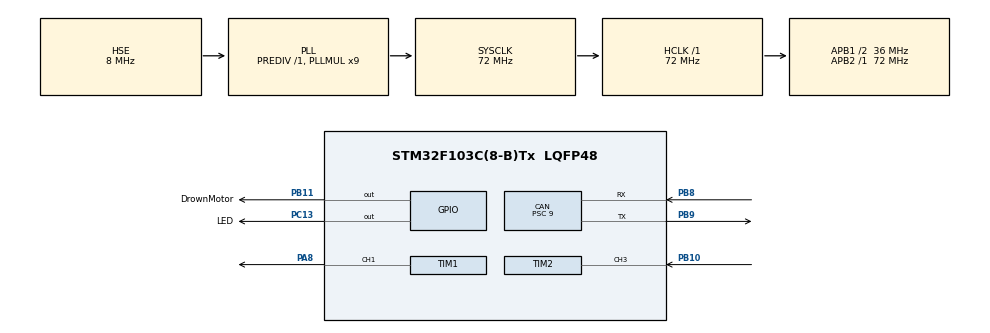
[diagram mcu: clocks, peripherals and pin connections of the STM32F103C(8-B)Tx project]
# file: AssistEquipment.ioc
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CAN.AWUM=ENABLE
CAN.BS1=CAN_BS1_13TQ
CAN.BS2=CAN_BS2_2TQ
CAN.CalculateTimeBit=4000
CAN.CalculateTimeQuantum=250.0
CAN.Mode=CAN_MODE_NORMAL
CAN.NART=ENABLE
CAN.Prescaler=9
CAN.SJW=CAN_SJW_2TQ
CAN.TXFP=DISABLE
FREERTOS.Tasks01=defaultTask,0,256,StartDefaultTask,As weak,NULL,Dynamic,NULL,NULL;CAN_TX_Task,0,512,Start_CAN_TX_Task,As weak,NULL,Dynamic,NULL,NULL;RPMTask,1,128,StartRPMTask,As weak,NULL,Dynamic,NULL,NULL
FREERTOS.configTOTAL_HEAP_SIZE=4048
IWDG.Prescaler=IWDG_PRESCALER_32
Mcu.Family=STM32F1
Mcu.Name=STM32F103C(8-B)Tx
Mcu.Package=LQFP48
NVIC.PriorityGroup=NVIC_PRIORITYGROUP_4
NVIC.TIM2_IRQn=true\:5\:0\:false\:false\:true\:true\:true\:true
NVIC.TIM3_IRQn=true\:5\:0\:false\:false\:true\:true\:true\:true
NVIC.TIM4_IRQn=true\:0\:0\:false\:false\:true\:false\:false\:true
NVIC.TimeBase=TIM4_IRQn
NVIC.TimeBaseIP=TIM4
NVIC.USB_LP_CAN1_RX0_IRQn=true\:5\:0\:false\:false\:true\:true\:true\:true
PA13.Mode=Serial_Wire
PA13.Signal=SYS_JTMS-SWDIO
PA14.Mode=Serial_Wire
PA14.Signal=SYS_JTCK-SWCLK
PA8.Signal=S_TIM1_CH1
PB10.Signal=S_TIM2_CH3
PB11.GPIO_Label=DrownMotor
PB11.Signal=GPIO_Output
PB8.Mode=Master
PB8.Signal=CAN_RX
PB9.Mode=Master
PB9.Signal=CAN_TX
PC13-TAMPER-RTC.GPIO_Label=LED
PC13-TAMPER-RTC.Signal=GPIO_Output
PC14-OSC32_IN.Mode=LSE-External-Oscillator
PC14-OSC32_IN.Signal=RCC_OSC32_IN
PC15-OSC32_OUT.Mode=LSE-External-Oscillator
PC15-OSC32_OUT.Signal=RCC_OSC32_OUT
PD0-OSC_IN.Mode=HSE-External-Oscillator
PD0-OSC_IN.Signal=RCC_OSC_IN
PD1-OSC_OUT.Mode=HSE-External-Oscillator
PD1-OSC_OUT.Signal=RCC_OSC_OUT
ProjectManager.HeapSize=0x200
ProjectManager.StackSize=0x400
ProjectManager.TargetToolchain=EWARM V8.32
RCC.AHBFreq_Value=72000000
RCC.APB1CLKDivider=RCC_HCLK_DIV2
RCC.APB1Freq_Value=36000000
RCC.APB1TimFreq_Value=72000000
RCC.APB2Freq_Value=72000000
RCC.APB2TimFreq_Value=72000000
RCC.HCLKFreq_Value=72000000
RCC.PLLMUL=RCC_PLL_MUL9
RCC.PLLSourceVirtual=RCC_PLLSOURCE_HSE
RCC.SYSCLKFreq_VALUE=72000000
RCC.SYSCLKSource=RCC_SYSCLKSOURCE_PLLCLK
RCC.USBFreq_Value=72000000
SH.S_TIM1_CH1.0=TIM1_CH1,PWM Generation1 CH1
SH.S_TIM2_CH3.0=TIM2_CH3,Input_Capture3_from_TI3
TIM1.Channel-PWM\ Generation1\ CH1=TIM_CHANNEL_1
TIM1.Period=5000
TIM1.Prescaler=71
TIM2.Channel-Input_Capture3_from_TI3=TIM_CHANNEL_3
TIM2.ICPrescaler-Input_Capture3_from_TI3=TIM_ICPSC_DIV1
TIM2.Period=65535
TIM2.Prescaler=71
TIM3.AutoReloadPreload=TIM_AUTORELOAD_PRELOAD_ENABLE
TIM3.Period=50000
TIM3.Prescaler=7199
VP_FREERTOS_VS_CMSIS_V1.Mode=CMSIS_V1
VP_IWDG_VS_IWDG.Mode=IWDG_Activate
VP_SYS_VS_tim4.Mode=TIM4
VP_TIM1_VS_ClockSourceINT.Mode=Internal
VP_TIM2_VS_ClockSourceINT.Mode=Internal
VP_TIM3_VS_ClockSourceINT.Mode=Internal
board=custom

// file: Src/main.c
/* USER CODE BEGIN Header */
/**
  ******************************************************************************
  * @file           : main.c
  * @brief          : Main program body
  ******************************************************************************
  * @attention
  *
  * <h2><center>&copy; Copyright (c) 2020 STMicroelectronics.
  * All rights reserved.</center></h2>
  *
  * This software component is licensed by ST under BSD 3-Clause license,
  * the "License"; You may not use this file except in compliance with the
  * License. You may obtain a copy of the License at:
  *                        opensource.org/licenses/BSD-3-Clause
  *
  ******************************************************************************
  */
/* USER CODE END Header */

#include "main.h"
#include "cmsis_os.h"

CAN_HandleTypeDef hcan;

IWDG_HandleTypeDef hiwdg;

TIM_HandleTypeDef htim1;
TIM_HandleTypeDef htim2;
TIM_HandleTypeDef htim3;

osThreadId defaultTaskHandle;
osThreadId CAN_TX_TaskHandle;
osThreadId RPMTaskHandle;
/* USER CODE BEGIN PV */
uint8_t SignalStatus = 0;
/* USER CODE END PV */

void SystemClock_Config(void);
static void MX_GPIO_Init(void);
static void MX_CAN_Init(void);
static void MX_TIM2_Init(void);
static void MX_TIM3_Init(void);
static void MX_TIM1_Init(void);
static void MX_IWDG_Init(void);
void StartDefaultTask(void const * argument);
void Start_CAN_TX_Task(void const * argument);
void StartRPMTask(void const * argument);

int main(void)
{

  /* MCU Configuration--------------------------------------------------------*/

  /* Reset of all peripherals, Initializes the Flash interface and the Systick. */
  HAL_Init();

  /* Configure the system clock */
  SystemClock_Config();

  /* Initialize all configured peripherals */
  MX_GPIO_Init();
  MX_CAN_Init();
  MX_TIM2_Init();
  MX_TIM3_Init();
  MX_TIM1_Init();
  MX_IWDG_Init();
  /* USER CODE BEGIN 2 */
  HAL_TIM_IC_Start_IT(&htim2, TIM_CHANNEL_3);
  //HAL_TIM_IC_Start_IT(&htim2, TIM_CHANNEL_4);
  /* USER CODE END 2 */

  /* Create the thread(s) */
  /* definition and creation of defaultTask */
  osThreadDef(defaultTask, StartDefaultTask, osPriorityNormal, 0, 256);
  defaultTaskHandle = osThreadCreate(osThread(defaultTask), NULL);

  /* definition and creation of CAN_TX_Task */
  osThreadDef(CAN_TX_Task, Start_CAN_TX_Task, osPriorityNormal, 0, 512);
  CAN_TX_TaskHandle = osThreadCreate(osThread(CAN_TX_Task), NULL);

  /* definition and creation of RPMTask */
  osThreadDef(RPMTask, StartRPMTask, osPriorityAboveNormal, 0, 128);
  RPMTaskHandle = osThreadCreate(osThread(RPMTask), NULL);

  /* Start scheduler */
  osKernelStart();

  /* We should never get here as control is now taken by the scheduler */
  /* Infinite loop */
  while (1)
  {

  }
}

void SystemClock_Config(void)
{
  RCC_OscInitTypeDef RCC_OscInitStruct = {0};
  RCC_ClkInitTypeDef RCC_ClkInitStruct = {0};

  /** Initializes the CPU, AHB and APB busses clocks
  */
  RCC_OscInitStruct.OscillatorType = RCC_OSCILLATORTYPE_LSI|RCC_OSCILLATORTYPE_HSE;
  RCC_OscInitStruct.HSEState = RCC_HSE_ON;
  RCC_OscInitStruct.HSEPredivValue = RCC_HSE_PREDIV_DIV1;
  RCC_OscInitStruct.HSIState = RCC_HSI_ON;
  RCC_OscInitStruct.LSIState = RCC_LSI_ON;
  RCC_OscInitStruct.PLL.PLLState = RCC_PLL_ON;
  RCC_OscInitStruct.PLL.PLLSource = RCC_PLLSOURCE_HSE;
  RCC_OscInitStruct.PLL.PLLMUL = RCC_PLL_MUL9;
  if (HAL_RCC_OscConfig(&RCC_OscInitStruct) != HAL_OK)
  {
    Error_Handler();
  }
  /** Initializes the CPU, AHB and APB busses clocks
  */
  RCC_ClkInitStruct.ClockType = RCC_CLOCKTYPE_HCLK|RCC_CLOCKTYPE_SYSCLK
                              |RCC_CLOCKTYPE_PCLK1|RCC_CLOCKTYPE_PCLK2;
  RCC_ClkInitStruct.SYSCLKSource = RCC_SYSCLKSOURCE_PLLCLK;
  RCC_ClkInitStruct.AHBCLKDivider = RCC_SYSCLK_DIV1;
  RCC_ClkInitStruct.APB1CLKDivider = RCC_HCLK_DIV2;
  RCC_ClkInitStruct.APB2CLKDivider = RCC_HCLK_DIV1;

  if (HAL_RCC_ClockConfig(&RCC_ClkInitStruct, FLASH_LATENCY_2) != HAL_OK)
  {
    Error_Handler();
  }
}

static void MX_CAN_Init(void)
{

  hcan.Instance = CAN1;
  hcan.Init.Prescaler = 9;
  hcan.Init.Mode = CAN_MODE_NORMAL;
  hcan.Init.SyncJumpWidth = CAN_SJW_2TQ;
  hcan.Init.TimeSeg1 = CAN_BS1_13TQ;
  hcan.Init.TimeSeg2 = CAN_BS2_2TQ;
  hcan.Init.TimeTriggeredMode = DISABLE;
  hcan.Init.AutoBusOff = DISABLE;
  hcan.Init.AutoWakeUp = ENABLE;
  hcan.Init.AutoRetransmission = ENABLE;
  hcan.Init.ReceiveFifoLocked = DISABLE;
  hcan.Init.TransmitFifoPriority = DISABLE;
  if (HAL_CAN_Init(&hcan) != HAL_OK)
  {
    Error_Handler();
  }
  /* USER CODE BEGIN CAN_Init 2 */
  CAN_FilterTypeDef CAN_Filter;
  CAN_Filter.FilterBank = 0;
  CAN_Filter.FilterMode = CAN_FILTERMODE_IDMASK;
  CAN_Filter.FilterScale = CAN_FILTERSCALE_32BIT;
  CAN_Filter.FilterMaskIdHigh = 0x0000;
  CAN_Filter.FilterMaskIdLow = 0x0000;
  CAN_Filter.FilterFIFOAssignment = CAN_RX_FIFO0;
  CAN_Filter.FilterActivation = ENABLE;

  if (HAL_CAN_ConfigFilter(&hcan, &CAN_Filter) != HAL_OK)
  {
    Error_Handler();
  }

  if (HAL_CAN_ActivateNotification(&hcan, CAN_IT_RX_FIFO0_MSG_PENDING) != HAL_OK)
  {
    Error_Handler();
  }

  if (HAL_CAN_Start(&hcan) != HAL_OK)
  {
    Error_Handler();
  }

  /* USER CODE END CAN_Init 2 */

}

static void MX_IWDG_Init(void)
{

  hiwdg.Instance = IWDG;
  hiwdg.Init.Prescaler = IWDG_PRESCALER_32;
  hiwdg.Init.Reload = 4095;
  if (HAL_IWDG_Init(&hiwdg) != HAL_OK)
  {
    Error_Handler();
  }

}

static void MX_TIM1_Init(void)
{

  TIM_ClockConfigTypeDef sClockSourceConfig = {0};
  TIM_MasterConfigTypeDef sMasterConfig = {0};
  TIM_OC_InitTypeDef sConfigOC = {0};
  TIM_BreakDeadTimeConfigTypeDef sBreakDeadTimeConfig = {0};

  htim1.Instance = TIM1;
  htim1.Init.Prescaler = 71;
  htim1.Init.CounterMode = TIM_COUNTERMODE_UP;
  htim1.Init.Period = 5000;
  htim1.Init.ClockDivision = TIM_CLOCKDIVISION_DIV1;
  htim1.Init.RepetitionCounter = 0;
  htim1.Init.AutoReloadPreload = TIM_AUTORELOAD_PRELOAD_DISABLE;
  if (HAL_TIM_Base_Init(&htim1) != HAL_OK)
  {
    Error_Handler();
  }
  sClockSourceConfig.ClockSource = TIM_CLOCKSOURCE_INTERNAL;
  if (HAL_TIM_ConfigClockSource(&htim1, &sClockSourceConfig) != HAL_OK)
  {
    Error_Handler();
  }
  if (HAL_TIM_PWM_Init(&htim1) != HAL_OK)
  {
    Error_Handler();
  }
  sMasterConfig.MasterOutputTrigger = TIM_TRGO_RESET;
  sMasterConfig.MasterSlaveMode = TIM_MASTERSLAVEMODE_DISABLE;
  if (HAL_TIMEx_MasterConfigSynchronization(&htim1, &sMasterConfig) != HAL_OK)
  {
    Error_Handler();
  }
  sConfigOC.OCMode = TIM_OCMODE_PWM1;
  sConfigOC.Pulse = 0;
  sConfigOC.OCPolarity = TIM_OCPOLARITY_HIGH;
  sConfigOC.OCNPolarity = TIM_OCNPOLARITY_HIGH;
  sConfigOC.OCFastMode = TIM_OCFAST_DISABLE;
  sConfigOC.OCIdleState = TIM_OCIDLESTATE_RESET;
  sConfigOC.OCNIdleState = TIM_OCNIDLESTATE_RESET;
  if (HAL_TIM_PWM_ConfigChannel(&htim1, &sConfigOC, TIM_CHANNEL_1) != HAL_OK)
  {
    Error_Handler();
  }
  sBreakDeadTimeConfig.OffStateRunMode = TIM_OSSR_DISABLE;
  sBreakDeadTimeConfig.OffStateIDLEMode = TIM_OSSI_DISABLE;
  sBreakDeadTimeConfig.LockLevel = TIM_LOCKLEVEL_OFF;
  sBreakDeadTimeConfig.DeadTime = 0;
  sBreakDeadTimeConfig.BreakState = TIM_BREAK_DISABLE;
  sBreakDeadTimeConfig.BreakPolarity = TIM_BREAKPOLARITY_HIGH;
  sBreakDeadTimeConfig.AutomaticOutput = TIM_AUTOMATICOUTPUT_DISABLE;
  if (HAL_TIMEx_ConfigBreakDeadTime(&htim1, &sBreakDeadTimeConfig) != HAL_OK)
  {
    Error_Handler();
  }
  HAL_TIM_MspPostInit(&htim1);

}

static void MX_TIM2_Init(void)
{

  TIM_ClockConfigTypeDef sClockSourceConfig = {0};
  TIM_MasterConfigTypeDef sMasterConfig = {0};
  TIM_IC_InitTypeDef sConfigIC = {0};

  htim2.Instance = TIM2;
  htim2.Init.Prescaler = 71;
  htim2.Init.CounterMode = TIM_COUNTERMODE_UP;
  htim2.Init.Period = 65535;
  htim2.Init.ClockDivision = TIM_CLOCKDIVISION_DIV1;
  htim2.Init.AutoReloadPreload = TIM_AUTORELOAD_PRELOAD_DISABLE;
  if (HAL_TIM_Base_Init(&htim2) != HAL_OK)
  {
    Error_Handler();
  }
  sClockSourceConfig.ClockSource = TIM_CLOCKSOURCE_INTERNAL;
  if (HAL_TIM_ConfigClockSource(&htim2, &sClockSourceConfig) != HAL_OK)
  {
    Error_Handler();
  }
  if (HAL_TIM_IC_Init(&htim2) != HAL_OK)
  {
    Error_Handler();
  }
  sMasterConfig.MasterOutputTrigger = TIM_TRGO_RESET;
  sMasterConfig.MasterSlaveMode = TIM_MASTERSLAVEMODE_DISABLE;
  if (HAL_TIMEx_MasterConfigSynchronization(&htim2, &sMasterConfig) != HAL_OK)
  {
    Error_Handler();
  }
  sConfigIC.ICPolarity = TIM_INPUTCHANNELPOLARITY_RISING;
  sConfigIC.ICSelection = TIM_ICSELECTION_DIRECTTI;
  sConfigIC.ICPrescaler = TIM_ICPSC_DIV1;
  sConfigIC.ICFilter = 0;
  if (HAL_TIM_IC_ConfigChannel(&htim2, &sConfigIC, TIM_CHANNEL_3) != HAL_OK)
  {
    Error_Handler();
  }

}

static void MX_TIM3_Init(void)
{

  TIM_ClockConfigTypeDef sClockSourceConfig = {0};
  TIM_MasterConfigTypeDef sMasterConfig = {0};

  htim3.Instance = TIM3;
  htim3.Init.Prescaler = 7199;
  htim3.Init.CounterMode = TIM_COUNTERMODE_UP;
  htim3.Init.Period = 50000;
  htim3.Init.ClockDivision = TIM_CLOCKDIVISION_DIV1;
  htim3.Init.AutoReloadPreload = TIM_AUTORELOAD_PRELOAD_ENABLE;
  if (HAL_TIM_Base_Init(&htim3) != HAL_OK)
  {
    Error_Handler();
  }
  sClockSourceConfig.ClockSource = TIM_CLOCKSOURCE_INTERNAL;
  if (HAL_TIM_ConfigClockSource(&htim3, &sClockSourceConfig) != HAL_OK)
  {
    Error_Handler();
  }
  sMasterConfig.MasterOutputTrigger = TIM_TRGO_RESET;
  sMasterConfig.MasterSlaveMode = TIM_MASTERSLAVEMODE_DISABLE;
  if (HAL_TIMEx_MasterConfigSynchronization(&htim3, &sMasterConfig) != HAL_OK)
  {
    Error_Handler();
  }
  /* USER CODE BEGIN TIM3_Init 2 */
  if (HAL_TIM_Base_Start_IT(&htim3) != HAL_OK)
  {
    Error_Handler();
  }
  /* USER CODE END TIM3_Init 2 */

}

static void MX_GPIO_Init(void)
{
  GPIO_InitTypeDef GPIO_InitStruct = {0};

  /* GPIO Ports Clock Enable */
  __HAL_RCC_GPIOC_CLK_ENABLE();
  __HAL_RCC_GPIOD_CLK_ENABLE();
  __HAL_RCC_GPIOB_CLK_ENABLE();
  __HAL_RCC_GPIOA_CLK_ENABLE();

  /*Configure GPIO pin Output Level */
  HAL_GPIO_WritePin(LED_GPIO_Port, LED_Pin, GPIO_PIN_RESET);

  /*Configure GPIO pin Output Level */
  HAL_GPIO_WritePin(DrownMotor_GPIO_Port, DrownMotor_Pin, GPIO_PIN_RESET);

  /*Configure GPIO pin : LED_Pin */
  GPIO_InitStruct.Pin = LED_Pin;
  GPIO_InitStruct.Mode = GPIO_MODE_OUTPUT_PP;
  GPIO_InitStruct.Pull = GPIO_NOPULL;
  GPIO_InitStruct.Speed = GPIO_SPEED_FREQ_LOW;
  HAL_GPIO_Init(LED_GPIO_Port, &GPIO_InitStruct);

  /*Configure GPIO pin : DrownMotor_Pin */
  GPIO_InitStruct.Pin = DrownMotor_Pin;
  GPIO_InitStruct.Mode = GPIO_MODE_OUTPUT_PP;
  GPIO_InitStruct.Pull = GPIO_NOPULL;
  GPIO_InitStruct.Speed = GPIO_SPEED_FREQ_LOW;
  HAL_GPIO_Init(DrownMotor_GPIO_Port, &GPIO_InitStruct);

}

__weak void StartDefaultTask(void const * argument)
{
  for (;;)
  {
    osDelay(1);
  }
}

__weak void Start_CAN_TX_Task(void const * argument)
{
  for (;;)
  {
    osDelay(1);
  }
}

__weak void StartRPMTask(void const * argument)
{
  for(;;)
  {
    osDelay(1);
  }
}

 /**
  * @brief  Period elapsed callback in non blocking mode
  * @note   This function is called  when TIM4 interrupt took place, inside
  * HAL_TIM_IRQHandler(). It makes a direct call to HAL_IncTick() to increment
  * a global variable "uwTick" used as application time base.
  * @param  htim : TIM handle
  * @retval None
  */
void HAL_TIM_PeriodElapsedCallback(TIM_HandleTypeDef *htim)
{
  if (htim->Instance == TIM4) {
    HAL_IncTick();
  }
  /* USER CODE BEGIN Callback 1 */
  if (htim->Instance == TIM3)
  {
    SignalStatus = 0;
  }
  /* USER CODE END Callback 1 */
}

void Error_Handler(void)
{
  /* USER CODE BEGIN Error_Handler_Debug */
  /* User can add his own implementation to report the HAL error return state */
  HAL_GPIO_TogglePin(LED_GPIO_Port, LED_Pin);
  HAL_Delay(300);
  HAL_GPIO_TogglePin(LED_GPIO_Port, LED_Pin);
  HAL_Delay(300);
  HAL_GPIO_TogglePin(LED_GPIO_Port, LED_Pin);
  HAL_Delay(300);
  HAL_GPIO_TogglePin(LED_GPIO_Port, LED_Pin);
  HAL_Delay(300);
  HAL_GPIO_TogglePin(LED_GPIO_Port, LED_Pin);
  HAL_Delay(300);
  HAL_GPIO_TogglePin(LED_GPIO_Port, LED_Pin);
  HAL_Delay(300);
  /* USER CODE END Error_Handler_Debug */
}

/************************ (C) COPYRIGHT STMicroelectronics *****END OF FILE****/

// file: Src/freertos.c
/* USER CODE BEGIN Header */
/**
  ******************************************************************************
  * File Name          : freertos.c
  * Description        : Code for freertos applications
  ******************************************************************************
  * @attention
  *
  * <h2><center>&copy; Copyright (c) 2020 STMicroelectronics.
  * All rights reserved.</center></h2>
  *
  * This software component is licensed by ST under Ultimate Liberty license
  * SLA0044, the "License"; You may not use this file except in compliance with
  * the License. You may obtain a copy of the License at:
  *                             www.st.com/SLA0044
  *
  ******************************************************************************
  */
/* USER CODE END Header */

#include "FreeRTOS.h"
#include "task.h"
#include "main.h"

/* USER CODE BEGIN Includes */
#include "servo.h"
#include "prothawk.h"
/* USER CODE END Includes */

/* USER CODE BEGIN Variables */
ServoTypeDef ServoAccel;
uint8_t RPM = 0x00;
uint8_t FuelCapacity = 0x00;

uint32_t revs = 0;

extern uint8_t SignalStatus;
extern TIM_HandleTypeDef htim3;
extern TIM_HandleTypeDef htim2;
extern IWDG_HandleTypeDef hiwdg;
/* USER CODE END Variables */

/* GetIdleTaskMemory prototype (linked to static allocation support) */
void vApplicationGetIdleTaskMemory( StaticTask_t **ppxIdleTaskTCBBuffer, StackType_t **ppxIdleTaskStackBuffer, uint32_t *pulIdleTaskStackSize );

/* USER CODE BEGIN GET_IDLE_TASK_MEMORY */
static StaticTask_t xIdleTaskTCBBuffer;
static StackType_t xIdleStack[configMINIMAL_STACK_SIZE];

void vApplicationGetIdleTaskMemory(StaticTask_t **ppxIdleTaskTCBBuffer, StackType_t **ppxIdleTaskStackBuffer, uint32_t *pulIdleTaskStackSize)
{
  *ppxIdleTaskTCBBuffer = &xIdleTaskTCBBuffer;
  *ppxIdleTaskStackBuffer = &xIdleStack[0];
  *pulIdleTaskStackSize = configMINIMAL_STACK_SIZE;
  /* place for user code */
}
/* USER CODE END GET_IDLE_TASK_MEMORY */

/* USER CODE BEGIN Application */
void HAL_TIM_IC_CaptureCallback(TIM_HandleTypeDef *htim) // колбек по захвату
{
  if (htim->Instance == TIM2)
  {
    if (htim->Channel == HAL_TIM_ACTIVE_CHANNEL_3) // RISING с LOW на HIGH
    {
      revs++;
      //RPM = 600000/HAL_TIM_ReadCapturedValue(&htim2, TIM_CHANNEL_3);
      __HAL_TIM_SET_COUNTER(&htim2, 0x0000); // обнуление счётчика
    }

  }
}

/* USER CODE BEGIN Header_StartRPMTask */
/**
* @brief Function implementing the RPMTask thread.
* @param argument: Not used
* @retval None
*/
/* USER CODE END Header_StartRPMTask */
void StartRPMTask(void const * argument)
{
  /* USER CODE BEGIN StartRPMTask */
  /* Infinite loop */
  for(;;)
  {
    vTaskDelay(1000);
    RPM = 60*revs/200;
    revs = 0;
  }
  /* USER CODE END StartRPMTask */
}

void HAL_CAN_RxFifo0MsgPendingCallback(CAN_HandleTypeDef *hcan)
{
  volatile uint8_t buf[8];
  CAN_RxHeaderTypeDef RxHeader;

  if (HAL_CAN_GetRxMessage(hcan, CAN_RX_FIFO0, &RxHeader, (uint8_t *)buf) != HAL_OK)
  {
    Error_Handler();
  }
  switch (buf[0])
  {
  case HeaderPropultionCommand:
    ServoAccel.angle = buf[1];
    SignalStatus = 2;
    __HAL_TIM_SET_COUNTER(&htim3, 0x00);
    break;
  case StopMotorRequest:
    if (buf[1] == DISABLEMOTOR)
    {
      HAL_GPIO_WritePin(DrownMotor_GPIO_Port, DrownMotor_Pin, GPIO_PIN_RESET);
    }
    if (buf[1] == ENABLEMOTOR)
    {
      HAL_GPIO_WritePin(DrownMotor_GPIO_Port, DrownMotor_Pin, GPIO_PIN_SET);
    }
    break;
  default:
    break;
  }
  // Обработка принимаемого сообщения
}
/**
* @brief Function implementing the CAN_TX_Task thread.
* @param argument: Not used
* @retval None
*/
/* USER CODE END Header_Start_CAN_TX_Task */
void Start_CAN_TX_Task(void const *argument)
{
  /* USER CODE BEGIN Start_CAN_TX_Task */
  /* Infinite loop */
  CAN_TxHeaderTypeDef TxHeader;
  extern CAN_HandleTypeDef hcan;
  uint8_t buf[4] = {0x00, 0x00, 0x00, 0x00};
  uint32_t TxMailBox; //= CAN_TX_MAILBOX0;

  TxHeader.DLC = 4;
  TxHeader.StdId = 0x0000;
  TxHeader.RTR = CAN_RTR_DATA;
  TxHeader.IDE = CAN_ID_STD;
  TxHeader.TransmitGlobalTime = DISABLE;

  for (;;)
  {
    buf[0] = HeaderPropultionCommand;
    buf[1] = RPM;
    buf[2] = FuelCapacity;
    buf[3] = ServoAccel.angle;

    taskENTER_CRITICAL();
    if (HAL_CAN_AddTxMessage(&hcan, &TxHeader, buf, &TxMailBox) != HAL_OK)
    {
      Error_Handler();
    }
    taskEXIT_CRITICAL();
    HAL_GPIO_TogglePin(LED_GPIO_Port, LED_Pin);
    HAL_IWDG_Refresh(&hiwdg);
    vTaskDelay(100);
  }
  /* USER CODE END Start_CAN_TX_Task */
}

/* USER CODE BEGIN Header_StartDefaultTask */
/**
  * @brief  Function implementing the defaultTask thread.
  * @param  argument: Not used
  * @retval None
  */
/* USER CODE END Header_StartDefaultTask */
void StartDefaultTask(void const *argument)
{
  /* USER CODE BEGIN 5 */
  extern TIM_HandleTypeDef htim1;

  ServoAccel.Tim_PWM = &htim1;
  ServoAccel.TimChannel = TIM_CHANNEL_1;
  ServoAccel.DirOfRot = DIRECT_ROTATION;
  ServoAccel.angle = 0x00;
  ServoStart(&ServoAccel);

  /* Infinite loop */
  for (;;)
  {
    if (SignalStatus == 2)
    {

    }
    else
    {
      ServoAccel.angle = 0x00;
      //ServoStop(&ServoAccel);
    }
    if (SignalStatus == 0)
    {
      ServoAccel.angle = 0x00;
      ServoSetAngle(&ServoAccel);
      vTaskDelay(3000);
      if(SignalStatus == 0)
      {
        HAL_GPIO_WritePin(DrownMotor_GPIO_Port, DrownMotor_Pin, GPIO_PIN_RESET);
      }
    }
    ServoSetAngle(&ServoAccel);
    vTaskDelay(10);
  }
  /* USER CODE END 5 */
}
/* USER CODE END Application */

/************************ (C) COPYRIGHT STMicroelectronics *****END OF FILE****/
